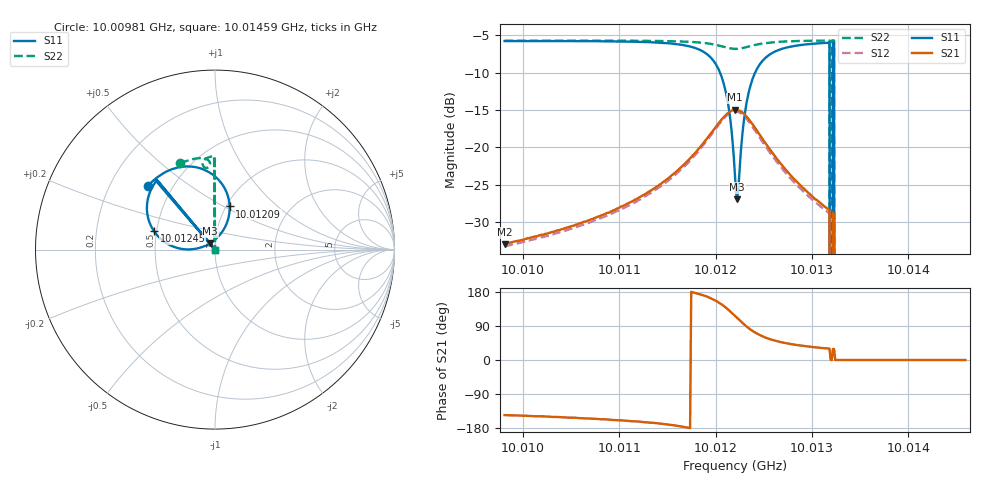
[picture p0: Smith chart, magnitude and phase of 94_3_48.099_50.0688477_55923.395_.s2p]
#  HZ  S  RI  R  50.00
! Rohde & Schwarz Vector Network Analyzer
! Rohde-Schwarz,ZNB20-2Port,1311601062101988,3.16
! Created: UTC 12/23/2023, 3:44:06 AM
! freq[Hz]  re:S11  im:S11  re:S21  im:S21  re:S12  im:S12  re:S22  im:S22
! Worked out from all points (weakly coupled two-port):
!   401 points, 10.00981 GHz to 10.01459 GHz, reference 50 ohm
!   highest |S21| = -14.96 dB at 10.0122 GHz (marker M1); lowest = -32.9 dB at 10.00981 GHz (marker M2)
!   lowest |S11| = -27.0 dB at 10.01223 GHz (marker M3), VSWR 1.09, Z = 47.2 + j3.35 ohm
!   |S11| at or under -10 dB: 10.01205 GHz to 10.01241 GHz (362.5 kHz wide, 0.00362 % of centre); 10.01318 GHz to 10.01322 GHz (35.36 kHz wide, 0.000353 % of centre); 10.01323 GHz to end of sweep
!   |S22| runs from - to -5.7 dB; largest |S21 - S12| = 0.0085
!   S11 on the Smith chart (normalised r, x): 10.00981 GHz: 0.36, +0.35; 10.01209 GHz: 1.04, +0.53; 10.01245 GHz: 0.48, +0.11; 10.01459 GHz: 1.00, +0.00
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1.0009811e10  -0.3755 0.3537  -0.0185 -0.0128  -0.0173 -0.0134  -0.1931 0.4812
1.0010612e10  -0.3198 0.4039  -0.0281 -0.0139  -0.0264 -0.0147  -0.1421 0.4994
1.0011413e10  -0.215 0.4554  -0.0547 -0.0122  -0.052 -0.0141  -0.0839 0.5098
1.0011891e10  -0.0305 0.4296  -0.1085 0.0208  -0.1061 0.0149  -0.0383 0.4987
1.001201e10  0.0484 0.3509  -0.1263 0.0588  -0.1259 0.0509  -0.0283 0.4847
1.0012094e10  0.0816 0.2403  -0.1256 0.1023  -0.1271 0.0946  -0.028 0.4699
1.0012154e10  0.0624 0.139  -0.1067 0.1382  -0.1102 0.1304  -0.0345 0.4597
1.0012202e10  0.00947 0.0638  -0.0788 0.1604  -0.0828 0.1536  -0.0439 0.4554
1.0012225e10  -0.0276 0.0354  -0.0623 0.167  -0.0659 0.1606  -0.0492 0.455
1.0012321e10  -0.1988 0.0064  0.00463 0.1613  -0.000305 0.1556  -0.0656 0.4655
1.0012453e10  -0.34 0.103  0.0486 0.1132  0.0433 0.1097  -0.0672 0.4879
1.0013002e10  -0.3475 0.3518  0.0389 0.0266  0.0358 0.027  -0.0197 0.5182
1.0013158e10  -0.3302 0.3781  0.0336 0.0199  0.0311 0.0204  -0.00716 0.5201
1.001317e10  -0.329 0.3798  0.0332 0.0196  0.0308 0.0201  -0.00626 0.5203
1.0013182e10  -0.3278 0.3815  0.0329 0.0191  0.0303 0.0196  -0.00534 0.5204
1.0013206e10  0 0  0 0  0 0  -0.00343 0.5205
1.0013218e10  -0.324 0.3865  0.0319 0.0179  0.0295 0.0185  -0.00273 0.5206
1.001323e10  -0.3227 0.3879  0.0316 0.0175  0.0291 0.0182  -0.00179 0.5208
1.0013241e10  0 0  0 0  0 0  0 0
1.0013265e10  0 0  0 0  0 0  0 0
1.0013803e10  0 0  0 0  0 0  0 0
1.0014592e10  0 0  0 0  0 0  0 0
